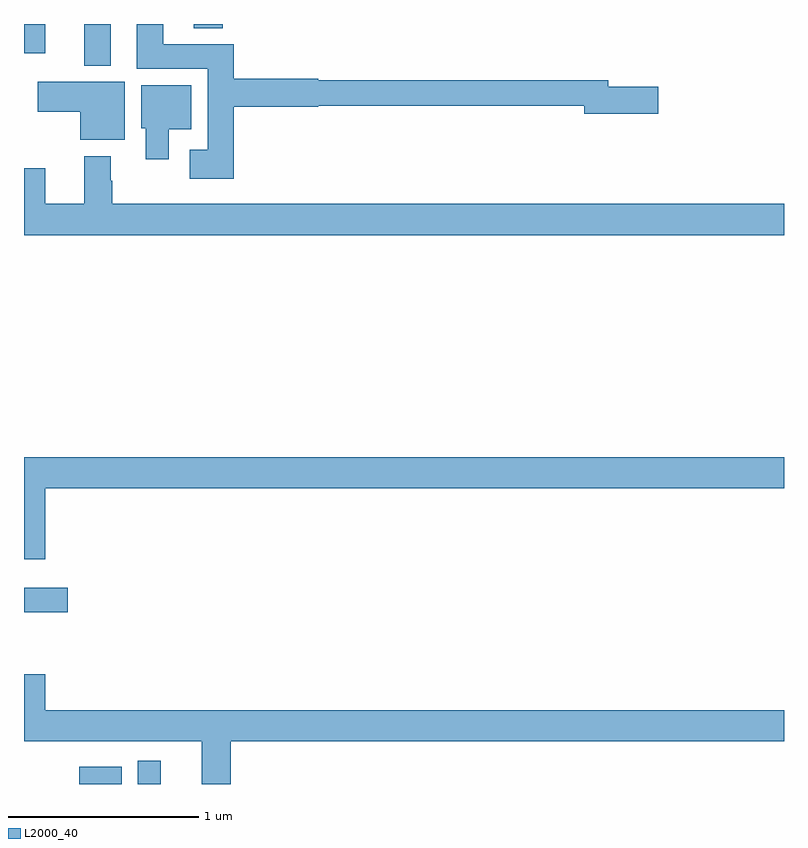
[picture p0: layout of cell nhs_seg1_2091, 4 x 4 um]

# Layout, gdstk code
import gdstk
lib = gdstk.Library(unit=1e-6, precision=1e-09)
def R(c, l, rs):  # rectangles x0, y0, x1, y1
    for r in rs: c.add(gdstk.rectangle(r[:2], r[2:], *l))
def P(c, l, *ps):  # polygons
    for p in ps: c.add(gdstk.Polygon(p, *l))
L2000_40 = (2000, 40)

nhs_seg1_2091 = lib.new_cell('nhs_seg1_2091')
R(nhs_seg1_2091, L2000_40, [(225.29,526.199,225.514,526.291), (225.599,526.199,225.721,526.321), (225,527.104,225.229,527.233), (225.317,529.979,225.457,530.199), (225,530.046,225.112,530.199), (225.893,530.177,226.046,530.199)])
P(nhs_seg1_2091, L2000_40, [(226.103,529.763),(226.548,529.763),(226.548,529.768),(227.948,529.768),(227.948,529.726),(228.337,529.726),(228.337,529.868),(228.076,529.868),(228.076,529.904),(226.548,529.904),(226.548,529.91),(226.103,529.91),(226.103,530.092),(225.733,530.092),(225.733,530.199),(225.593,530.199),(225.593,529.964),(225.968,529.964),(225.968,529.537),(225.873,529.537),(225.873,529.385),(226.103,529.385)],
  [(225.529,529.894),(225.072,529.894),(225.072,529.736),(225.296,529.736),(225.296,529.589),(225.529,529.589)],
  [(225.763,529.646),(225.88,529.646),(225.88,529.876),(225.617,529.876),(225.617,529.65),(225.641,529.65),(225.641,529.488),(225.763,529.488)],
  [(229,529.252),(225.465,529.252),(225.465,529.373),(225.457,529.373),(225.457,529.504),(225.317,529.504),(225.317,529.252),(225.112,529.252),(225.112,529.441),(225,529.441),(225,529.088),(229,529.088)],
  [(225.112,527.756),(229,527.756),(229,527.92),(225,527.92),(225,527.382),(225.112,527.382)],
  [(225.112,526.777),(225,526.777),(225,526.424),(225.935,526.424),(225.935,526.199),(226.088,526.199),(226.088,526.424),(229,526.424),(229,526.588),(225.112,526.588)])

lib.write_gds('nhs_seg1_2091.gds')
